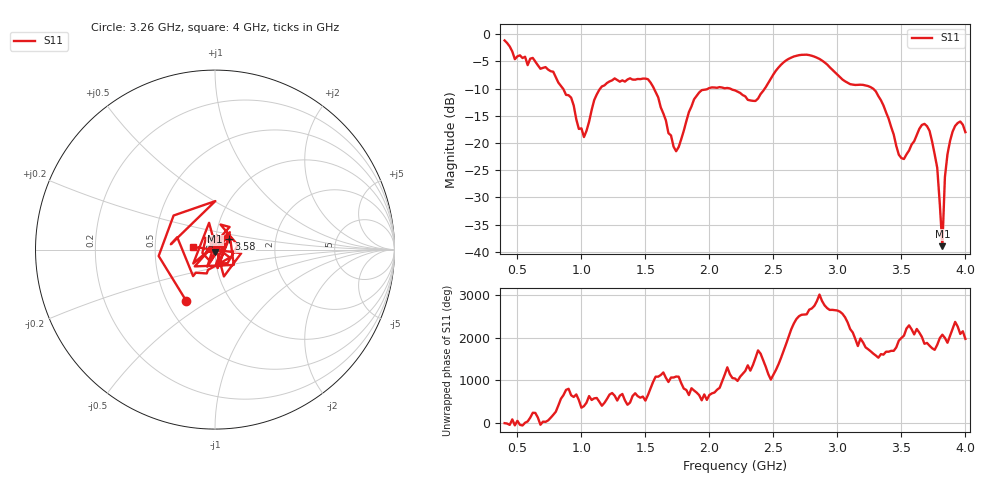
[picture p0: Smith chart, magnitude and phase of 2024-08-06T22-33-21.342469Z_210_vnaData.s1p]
!Created with skrf (http://scikit-rf.org).
# Hz S RI R 50.0
!freq ReS11 ImS11
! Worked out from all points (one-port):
!   181 points, 400 MHz to 4 GHz, reference 50 ohm
!   lowest |S11| = -39.0 dB at 3.82 GHz (marker M1), VSWR 1.02, Z = 50 - j1.12 ohm
!   |S11| at or under -10 dB: 856.4 MHz to 1.147 GHz (290.2 MHz wide, 29 % of centre); 1.567 GHz to 1.99 GHz (422.2 MHz wide, 23.7 % of centre); 3.279 GHz to end of sweep (the widest 3 of 4)
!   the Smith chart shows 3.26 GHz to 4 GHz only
!   S11 on the Smith chart (normalised r, x): 3.26 GHz: 0.63, -0.40; 3.58 GHz: 1.16, +0.14; 4 GHz: 0.78, +0.02
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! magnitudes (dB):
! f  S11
! 400 MHz  -1.1
! 480 MHz  -4.6
! 620 MHz  -4.3
! 860 MHz  -10.1
! 1.02 GHz  -18.9
! 1.14 GHz  -10.2
! 1.3 GHz  -8.7
! 1.52 GHz  -8.3
! 1.72 GHz  -20.7
! 1.76 GHz  -20.7
! 1.92 GHz  -10.7
! 2.2 GHz  -10.3
! 2.36 GHz  -12.3
! 2.66 GHz  -4.1
! 3.1 GHz  -9.2
! 3.26 GHz  -9.7
! 3.36 GHz  -13.1
! 3.48 GHz  -22.2
! 3.56 GHz  -21.4
! 3.58 GHz  -20.3
! 3.66 GHz  -16.7
! 3.72 GHz  -17.8
! 3.78 GHz  -24.6
! 3.82 GHz  -39.0
! 3.84 GHz  -26.3
! 3.88 GHz  -19.6
! 3.94 GHz  -16.3
! 4 GHz  -18.0
